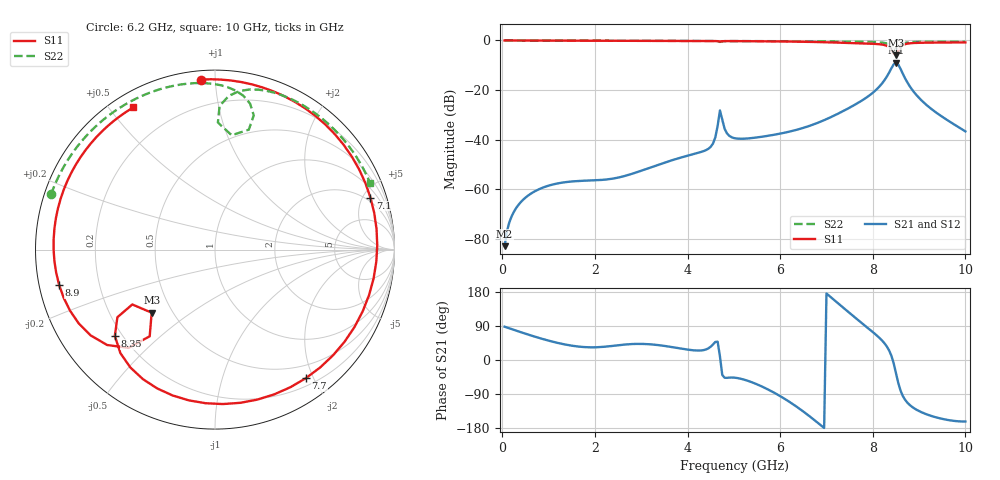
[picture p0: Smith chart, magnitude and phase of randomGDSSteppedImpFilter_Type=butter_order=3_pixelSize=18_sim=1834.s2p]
! freq	dB(S11)	phase(S11)	dB(S12)	phase(S12)
!  dB(S21)	phase(S21)	dB(S22)	phase(S22)
!S-par simulation data
#  GHz  S  DB  R 50
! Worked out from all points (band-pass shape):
!   200 points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, 50 MHz to 10 GHz, reference 50 ohm
!   highest |S21| = -8.94 dB at 8.5 GHz (marker M1); lowest = -83.0 dB at 50 MHz (marker M2)
!   |S21| within 3 dB of the highest: 8.382 GHz to 8.612 GHz (229.6 MHz wide, 2.7 % of centre)
!   lowest |S11| = -6.1 dB at 8.5 GHz (marker M3), VSWR 2.99, Z = 19.2 - j18 ohm
!   |S11| at or under -10 dB: nowhere
!   |S22| runs from -3.8 to 0.0 dB; largest |S21 - S12| = 0
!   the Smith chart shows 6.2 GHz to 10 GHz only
!   S11 on the Smith chart (normalised r, x): 6.2 GHz: 0.05, +0.92; 7.1 GHz: 1.63, +5.68; 7.7 GHz: 0.30, -1.89; 8.35 GHz: 0.17, -0.36; 8.9 GHz: 0.06, -0.11; 10 GHz: 0.06, +0.58
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0.05  -0.00 -2.5  -83.03 87.9  -83.03 87.9  -0.00 -1.8
0.25  -0.02 -12.2  -69.16 79.5  -69.16 79.5  -0.01 -8.8
0.55  -0.03 -26.6  -62.70 67.4  -62.70 67.4  -0.03 -19.3
1.75  -0.10 -80.8  -56.64 34.3  -56.64 34.3  -0.08 -60.3
3.4  -0.16 -144.6  -49.96 38.9  -49.96 38.9  -0.14 -112.6
4.5  -0.23 174.8  -42.94 35.1  -42.94 35.1  -0.21 -146.2
4.6  -0.25 170.8  -39.12 47.7  -39.12 47.7  -0.23 -149.5
4.7  -0.46 167.2  -28.25 9.4  -28.25 9.4  -0.60 -152.2
4.85  -0.26 161.7  -37.46 -47.1  -37.46 -47.1  -0.24 -155.8
5.05  -0.27 153.3  -39.57 -47.1  -39.57 -47.1  -0.24 -162.2
6.2  -0.44 94.6  -36.80 -110.4  -36.80 -110.4  -0.32 161.4
6.7  -0.60 57.4  -34.04 -154.6  -34.04 -154.6  -0.37 144.6
7.1  -0.79 18.5  -30.90 165.2  -30.90 165.2  -0.41 130.5
7.4  -0.96 -16.5  -28.12 134.2  -28.12 134.2  -0.45 119.4
7.7  -1.14 -54.7  -25.00 103.7  -25.00 103.7  -0.50 107.8
8.05  -1.39 -99.8  -20.31 68.6  -20.31 68.6  -0.65 92.9
8.35  -2.66 -139.3  -13.07 25.9  -13.07 25.9  -1.55 76.5
8.5  -6.05 -135.1  -8.94 -33.8  -8.94 -33.8  -3.83 81.7
8.65  -1.91 -138.5  -13.47 -95.2  -13.47 -95.2  -1.31 84.8
8.9  -1.01 -167.1  -21.08 -128.0  -21.08 -128.0  -0.59 69.5
9.35  -0.85 158.4  -28.85 -150.8  -28.85 -150.8  -0.51 49.3
10  -0.79 119.9  -36.70 -162.4  -36.70 -162.4  -0.54 23.3
